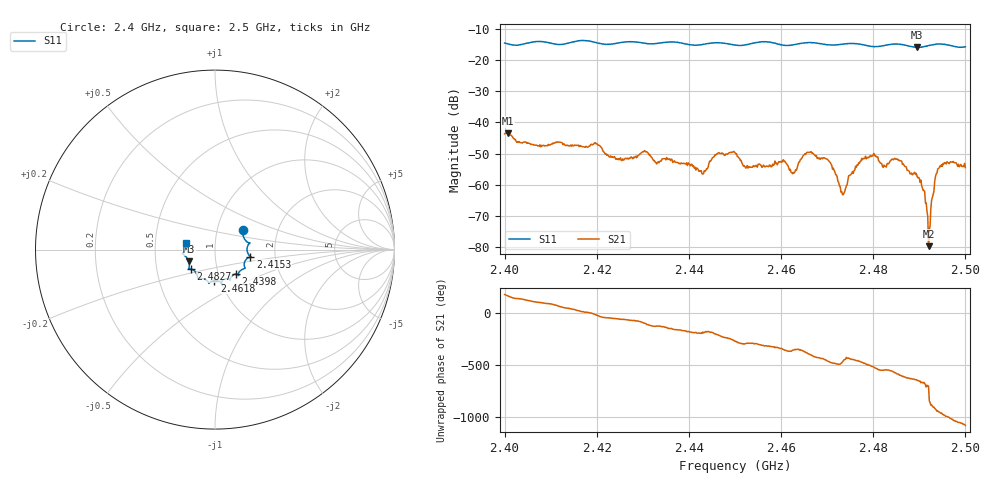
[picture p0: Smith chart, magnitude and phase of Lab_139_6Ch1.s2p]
# Hz S RI R 50
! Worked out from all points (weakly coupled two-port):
!   601 points, 2.4 GHz to 2.5 GHz, reference 50 ohm
!   highest |S21| = -43.45 dB at 2.4007 GHz (marker M1); lowest = -79.7 dB at 2.492 GHz (marker M2)
!   lowest |S11| = -15.9 dB at 2.4895 GHz (marker M3), VSWR 1.38, Z = 37 - j5 ohm
!   |S11| at or under -10 dB: start of sweep to end of sweep
!   S12 and S22 are empty: the file has one direction only
!   S11 on the Smith chart (normalised r, x): 2.4 GHz: 1.33, +0.29; 2.4153 GHz: 1.48, -0.12; 2.4398 GHz: 1.21, -0.34; 2.4618 GHz: 0.94, -0.33; 2.4827 GHz: 0.75, -0.17; 2.5 GHz: 0.72, +0.06
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2.4e9  0.1552 0.1066  -0.00659 0.000156  0 0  0 0
2.400667e9  0.1551 0.0968  -0.00653 0.00162  0 0  0 0
2.415333e9  0.1964 -0.0394  0.00367 0.00226  0 0  0 0
2.416667e9  0.2021 -0.0433  0.00403 0.00104  0 0  0 0
2.433333e9  0.1301 -0.134  -0.00138 -0.00189  0 0  0 0
2.439833e9  0.1155 -0.1361  -0.00224 -0.000148  0 0  0 0
2.443167e9  0.0879 -0.1566  -0.00147 0.00031  0 0  0 0
2.446167e9  0.0844 -0.1706  -0.00271 0.00154  0 0  0 0
2.45e9  0.0653 -0.1622  0.000225 0.00326  0 0  0 0
2.452333e9  0.0423 -0.1709  0.000766 0.00168  0 0  0 0
2.461833e9  -0.00346 -0.1726  0.00169 -0.000204  0 0  0 0
2.466667e9  -0.0347 -0.188  0.00214 -0.00241  0 0  0 0
2.4705e9  -0.0528 -0.1674  -0.00091 -0.00216  0 0  0 0
2.4735e9  -0.085 -0.1601  -0.000137 -0.000679  0 0  0 0
2.477833e9  -0.0986 -0.1463  -0.00136 -0.00228  0 0  0 0
2.482667e9  -0.1349 -0.1086  -0.00194 0.000359  0 0  0 0
2.483333e9  -0.1403 -0.1082  -0.00213 0.000411  0 0  0 0
2.4895e9  -0.146 -0.0659  0.000446 0.0013  0 0  0 0
2.490833e9  -0.1562 -0.0473  0.000575 0.000567  0 0  0 0
2.492e9  -0.1677 -0.034  9.94e-05 2.77e-05  0 0  0 0
2.494333e9  -0.1806 -0.0212  -0.00104 0.00155  0 0  0 0
2.5e9  -0.1592 0.0388  0.00187 -0.000208  0 0  0 0
